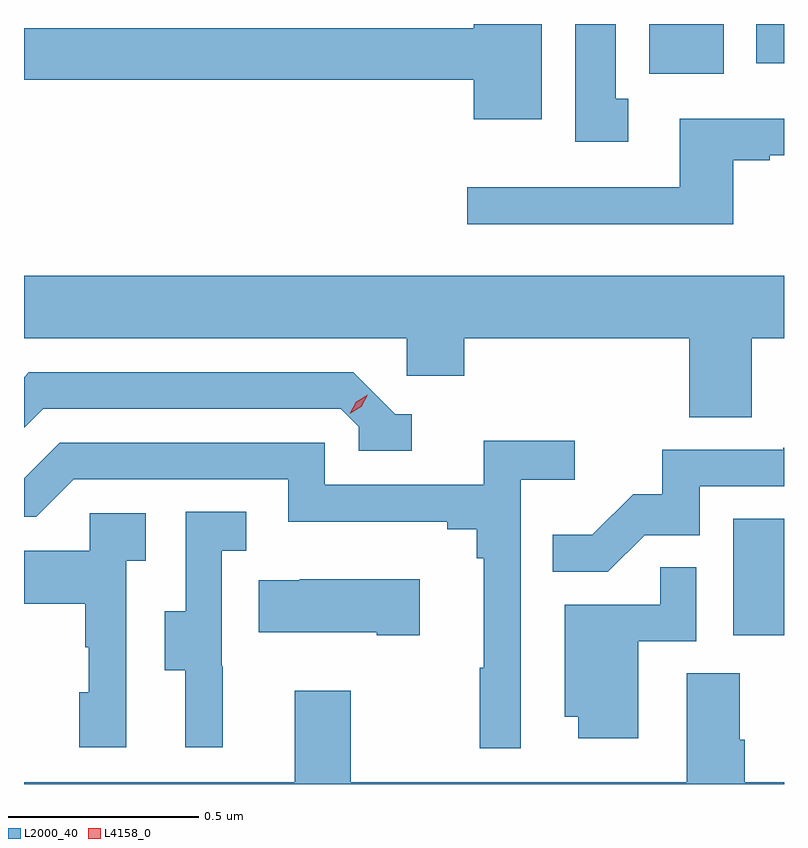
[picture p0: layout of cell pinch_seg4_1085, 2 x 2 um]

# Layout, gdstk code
import gdstk
lib = gdstk.Library(unit=1e-6, precision=1e-09)
def R(c, l, rs):  # rectangles x0, y0, x1, y1
    for r in rs: c.add(gdstk.rectangle(r[:2], r[2:], *l))
def P(c, l, *ps):  # polygons
    for p in ps: c.add(gdstk.Polygon(p, *l))
L2000_40 = (2000, 40)
L4158_0 = (4158, 0)

pinch_seg4_1085 = lib.new_cell('pinch_seg4_1085')
R(pinch_seg4_1085, L2000_40, [(854.228,756.078,854.361,756.385), (854.006,757.556,854.203,757.687), (854.288,757.584,854.361,757.687)])
P(pinch_seg4_1085, L2000_40, [(853.723,757.687),(853.544,757.687),(853.544,757.676),(852.361,757.676),(852.361,757.54),(853.544,757.54),(853.544,757.436),(853.723,757.436)],
  [(853.951,757.49),(853.918,757.49),(853.918,757.687),(853.811,757.687),(853.811,757.377),(853.951,757.377)],
  [(854.227,757.329),(854.323,757.329),(854.323,757.341),(854.361,757.341),(854.361,757.438),(854.087,757.438),(854.087,757.257),(853.527,757.257),(853.527,757.16),(854.227,757.16)],
  [(854.276,756.86),(854.361,756.86),(854.361,757.024),(852.361,757.024),(852.361,756.86),(853.368,756.86),(853.368,756.762),(853.52,756.762),(853.52,756.86),(854.111,756.86),(854.111,756.652),(854.276,756.652)],
  [(853.381,756.66),(853.338,756.66),(853.227,756.771),(852.374,756.771),(852.361,756.758),(852.361,756.625),(852.411,756.675),(853.194,756.675),(853.242,756.627),(853.242,756.564),(853.381,756.564)],
  [(853.668,756.488),(853.81,756.488),(853.81,756.59),(853.571,756.59),(853.571,756.474),(853.152,756.474),(853.152,756.585),(852.455,756.585),(852.361,756.491),(852.361,756.39),(852.393,756.39),(852.492,756.489),(853.056,756.489),(853.056,756.377),(853.475,756.377),(853.475,756.358),(853.552,756.358),(853.552,756.281),(853.571,756.281),(853.571,755.993),(853.56,755.993),(853.56,755.781),(853.668,755.781)],
  [(853.994,756.342),(854.139,756.342),(854.139,756.471),(854.361,756.471),(854.361,756.572),(854.359,756.572),(854.359,756.567),(854.041,756.567),(854.041,756.45),(853.964,756.45),(853.857,756.343),(853.753,756.343),(853.753,756.245),(853.897,756.245)],
  [(852.884,755.997),(852.882,755.997),(852.882,756.301),(852.946,756.301),(852.946,756.404),(852.786,756.404),(852.786,756.141),(852.731,756.141),(852.731,755.986),(852.785,755.986),(852.785,755.784),(852.884,755.784)],
  [(852.63,756.275),(852.682,756.275),(852.682,756.399),(852.534,756.399),(852.534,756.301),(852.361,756.301),(852.361,756.161),(852.522,756.161),(852.522,756.047),(852.532,756.047),(852.532,755.928),(852.506,755.928),(852.506,755.784),(852.63,755.784)],
  [(853.978,756.063),(854.13,756.063),(854.13,756.257),(854.035,756.257),(854.035,756.159),(853.784,756.159),(853.784,755.864),(853.82,755.864),(853.82,755.808),(853.978,755.808)],
  [(853.402,756.226),(853.087,756.226),(853.087,756.223),(852.979,756.223),(852.979,756.086),(853.289,756.086),(853.289,756.079),(853.402,756.079)],
  [(854.361,755.692),(854.258,755.692),(854.258,755.804),(854.245,755.804),(854.245,755.978),(854.105,755.978),(854.105,755.692),(853.221,755.692),(853.221,755.932),(853.073,755.932),(853.073,755.692),(852.361,755.692),(852.361,755.687),(854.361,755.687)])
P(pinch_seg4_1085, L4158_0, [(853.218,756.661),(853.218,756.661),(853.235,756.693),(853.266,756.712),(853.266,756.712),(853.266,756.712),(853.249,756.68),(853.218,756.661)])

lib.write_gds('pinch_seg4_1085.gds')
